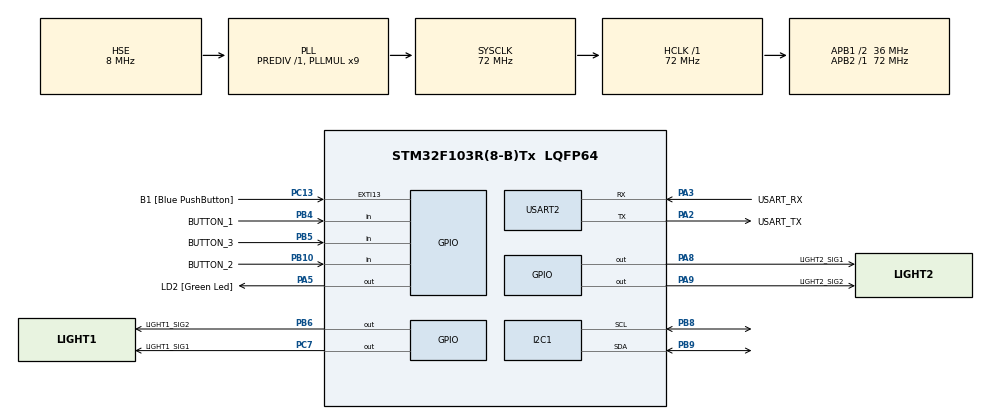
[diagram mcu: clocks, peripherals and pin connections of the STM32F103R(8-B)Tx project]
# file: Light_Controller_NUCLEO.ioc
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Mcu.Family=STM32F1
Mcu.Name=STM32F103R(8-B)Tx
Mcu.Package=LQFP64
NVIC.EXTI15_10_IRQn=true\:0\:0\:false\:false\:true\:true\:true\:true
NVIC.PriorityGroup=NVIC_PRIORITYGROUP_4
NVIC.TIM2_IRQn=true\:0\:0\:false\:false\:true\:true\:true\:true
NVIC.TIM3_IRQn=true\:0\:0\:false\:false\:true\:true\:true\:true
PA13.GPIO_Label=TMS
PA13.Mode=Serial_Wire
PA13.Signal=SYS_JTMS-SWDIO
PA14.GPIO_Label=TCK
PA14.Mode=Serial_Wire
PA14.Signal=SYS_JTCK-SWCLK
PA2.GPIO_Label=USART_TX
PA2.GPIO_Mode=GPIO_MODE_AF_PP
PA2.GPIO_PuPd=GPIO_NOPULL
PA2.GPIO_Speed=GPIO_SPEED_FREQ_LOW
PA2.Mode=Asynchronous
PA2.Signal=USART2_TX
PA3.GPIO_Label=USART_RX
PA3.GPIO_Mode=GPIO_MODE_AF_PP
PA3.GPIO_PuPd=GPIO_NOPULL
PA3.GPIO_Speed=GPIO_SPEED_FREQ_LOW
PA3.Mode=Asynchronous
PA3.Signal=USART2_RX
PA5.GPIO_Label=LD2 [Green Led]
PA5.GPIO_ModeDefaultOutputPP=GPIO_MODE_OUTPUT_PP
PA5.GPIO_PuPd=GPIO_NOPULL
PA5.GPIO_Speed=GPIO_SPEED_FREQ_LOW
PA5.Signal=GPIO_Output
PA8.GPIO_Label=LIGHT2_SIG1
PA8.Signal=GPIO_Output
PA9.GPIO_Label=LIGHT2_SIG2
PA9.Signal=GPIO_Output
PB10.GPIO_Label=BUTTON_2
PB10.Signal=GPIO_Input
PB3.GPIO_Label=SWO
PB3.Signal=SYS_JTDO-TRACESWO
PB4.GPIO_Label=BUTTON_1
PB4.Signal=GPIO_Input
PB5.GPIO_Label=BUTTON_3
PB5.Signal=GPIO_Input
PB6.GPIO_Label=LIGHT1_SIG2
PB6.Signal=GPIO_Output
PB8.Mode=I2C
PB8.Signal=I2C1_SCL
PB9.Mode=I2C
PB9.Signal=I2C1_SDA
PC13-TAMPER-RTC.GPIO_Label=B1 [Blue PushButton]
PC13-TAMPER-RTC.GPIO_PuPd=GPIO_NOPULL
PC13-TAMPER-RTC.Signal=GPXTI13
PC14-OSC32_IN.Mode=LSE-External-Oscillator
PC14-OSC32_IN.Signal=RCC_OSC32_IN
PC15-OSC32_OUT.Mode=LSE-External-Oscillator
PC15-OSC32_OUT.Signal=RCC_OSC32_OUT
PC7.GPIO_Label=LIGHT1_SIG1
PC7.Signal=GPIO_Output
PD0-OSC_IN.Mode=HSE-External-Oscillator
PD0-OSC_IN.Signal=RCC_OSC_IN
PD1-OSC_OUT.Mode=HSE-External-Oscillator
PD1-OSC_OUT.Signal=RCC_OSC_OUT
ProjectManager.HeapSize=0x200
ProjectManager.StackSize=0x400
ProjectManager.TargetToolchain=STM32CubeIDE
RCC.AHBFreq_Value=72000000
RCC.APB1CLKDivider=RCC_HCLK_DIV2
RCC.APB1Freq_Value=36000000
RCC.APB1TimFreq_Value=72000000
RCC.APB2Freq_Value=72000000
RCC.APB2TimFreq_Value=72000000
RCC.HCLKFreq_Value=72000000
RCC.PLLMUL=RCC_PLL_MUL9
RCC.PLLSourceVirtual=RCC_PLLSOURCE_HSE
RCC.RTCClockSelection=RCC_RTCCLKSOURCE_LSE
RCC.SYSCLKFreq_VALUE=72000000
RCC.SYSCLKSource=RCC_SYSCLKSOURCE_PLLCLK
RCC.USBFreq_Value=72000000
TIM2.Period=9
TIM2.Prescaler=7999
TIM3.Period=2
TIM3.Prescaler=23999
USART2.VirtualMode=VM_ASYNC
VP_TIM2_VS_ClockSourceINT.Mode=Internal
VP_TIM3_VS_ClockSourceINT.Mode=Internal
board=NUCLEO-F103RB

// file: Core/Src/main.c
/* USER CODE BEGIN Header */
/**
  ******************************************************************************
  * @file           : main.c
  * @brief          : Main program body
  ******************************************************************************
  * @attention
  *
  * Copyright (c) 2024 STMicroelectronics.
  * All rights reserved.
  *
  * This software is licensed under terms that can be found in the LICENSE file
  * in the root directory of this software component.
  * If no LICENSE file comes with this software, it is provided AS-IS.
  *
  ******************************************************************************
  */
/* USER CODE END Header */
#include "main.h"

/* USER CODE BEGIN Includes */
#include "stdio.h"
#include "Scheduler.h"
#include "Traffic_Light_FSM.h"
#include "I2C_LCD.h"
/* USER CODE END Includes */

I2C_HandleTypeDef hi2c1;

TIM_HandleTypeDef htim2;
TIM_HandleTypeDef htim3;

UART_HandleTypeDef huart2;

/* USER CODE BEGIN PV */
char light1Mode[] = "G:";
char light2Mode[] = "R:";

/* USER CODE END PV */

void SystemClock_Config(void);
static void MX_GPIO_Init(void);
static void MX_USART2_UART_Init(void);
static void MX_TIM2_Init(void);
static void MX_TIM3_Init(void);
static void MX_I2C1_Init(void);

/* USER CODE BEGIN 0 */

void printLightNotify () {
	int col = 1, row = 1;
	if (changeModeFlag) {
		char mode[] = "TIMER:";
		changeModeFlag = 0;
		clearLCD();
		switch (Mode) {
		case NORMAL:
			char text1[] = "Light 1";
			I2C_Send(&hi2c1, (0x27 << 1), 0x80 | ((row - 1)*64 + (col - 1)), 0);
			for (int i = 0; i < sizeof(text1)/sizeof(text1[0]) - 1; i++)
				I2C_Send(&hi2c1, (0x27 << 1), text1[i], RS);

			char text2[] = "Light 2";
			col = 10; row = 1;
			I2C_Send(&hi2c1, (0x27 << 1), 0x80 | ((row - 1)*64 + (col - 1)), 0);
			for (int i = 0; i < sizeof(text2)/sizeof(text2[0]) - 1; i++)
				I2C_Send(&hi2c1, (0x27 << 1), text2[i], RS);
			break;
		case RED:
			char textRED[] = "RED SETTING";
			I2C_Send(&hi2c1, (0x27 << 1), 0x80 | ((row - 1)*64 + (col - 1)), 0);
			for (int i = 0; i < sizeof(textRED)/sizeof(textRED[0]) - 1; i++)
				I2C_Send(&hi2c1, (0x27 << 1), textRED[i], RS);
			col = 1; row = 2;
			I2C_Send(&hi2c1, (0x27 << 1), 0x80 | ((row - 1)*64 + (col - 1)), 0);
			for (int i = 0; i < sizeof(mode)/sizeof(mode[0]) - 1; i++)
				I2C_Send(&hi2c1, (0x27 << 1), mode[i], RS);
			break;
		case AMBER:
			char textAMBER[] = "AMBER SETTING";
			I2C_Send(&hi2c1, (0x27 << 1), 0x80 | ((row - 1)*64 + (col - 1)), 0);
			for (int i = 0; i < sizeof(textAMBER)/sizeof(textAMBER[0]) - 1; i++)
				I2C_Send(&hi2c1, (0x27 << 1), textAMBER[i], RS);
			col = 1; row = 2;
			I2C_Send(&hi2c1, (0x27 << 1), 0x80 | ((row - 1)*64 + (col - 1)), 0);
			for (int i = 0; i < sizeof(mode)/sizeof(mode[0]) - 1; i++)
				I2C_Send(&hi2c1, (0x27 << 1), mode[i], RS);
			break;
		case GREEN:
			char textGREEN[] = "GREEN SETTING";
			I2C_Send(&hi2c1, (0x27 << 1), 0x80 | ((row - 1)*64 + (col - 1)), 0);
			for (int i = 0; i < sizeof(textGREEN)/sizeof(textGREEN[0]) - 1; i++)
				I2C_Send(&hi2c1, (0x27 << 1), textGREEN[i], RS);
			col = 1; row = 2;
			I2C_Send(&hi2c1, (0x27 << 1), 0x80 | ((row - 1)*64 + (col - 1)), 0);
			for (int i = 0; i < sizeof(mode)/sizeof(mode[0]) - 1; i++)
				I2C_Send(&hi2c1, (0x27 << 1), mode[i], RS);
			break;
		case SLOWDOWN:
			char textSLOWDOWN[] = "SLOWDOWN MODE";
			I2C_Send(&hi2c1, (0x27 << 1), 0x80 | ((row - 1)*64 + (col - 1)), 0);
			for (int i = 0; i < sizeof(textSLOWDOWN)/sizeof(textSLOWDOWN[0]) - 1; i++)
				I2C_Send(&hi2c1, (0x27 << 1), textSLOWDOWN[i], RS);
			break;
		case MANUAL:
			char textMANUAL[] = "MANUAL MODE";
			I2C_Send(&hi2c1, (0x27 << 1), 0x80 | ((row - 1)*64 + (col - 1)), 0);
			for (int i = 0; i < sizeof(textMANUAL)/sizeof(textMANUAL[0]) - 1; i++)
				I2C_Send(&hi2c1, (0x27 << 1), textMANUAL[i], RS);
			break;
		default:
			break;
		}
	}
}
void printLight1Mode () {
	if (Mode == NORMAL) {
		int col = 1, row = 2;
		I2C_Send(&hi2c1, (0x27 << 1), 0x80 | ((row - 1)*64 + (col - 1)), 0);
		for (int i = 0; i < sizeof(light1Mode)/sizeof(light1Mode[0]) - 1; i++)
			I2C_Send(&hi2c1, (0x27 << 1), light1Mode[i], RS);
	}
}
void printLight2Mode () {
	if (Mode == NORMAL) {
		int col = 10, row = 2;
		I2C_Send(&hi2c1, (0x27 << 1), 0x80 | ((row - 1)*64 + (col - 1)), 0);
		for (int i = 0; i < sizeof(light2Mode)/sizeof(light2Mode[0]) - 1; i++)
			I2C_Send(&hi2c1, (0x27 << 1), light2Mode[i], RS);
	}
}
void printLight1Timer () {
	uint8_t timer[] = "00";
	int col = 8, row = 2;
	switch (Mode){
	case NORMAL:
		if (lightController.isLight1){
			timer[0] = '0' + (second / 10);
			timer[1] = '0' + (second % 10);
		} else {
			timer[0] = '0' + (redLightTimer / 10);
			timer[1] = '0' + (redLightTimer % 10);
		}
		col = 4; row = 2;
		I2C_Send(&hi2c1, (0x27 << 1), 0x80 | ((row - 1)*64 + (col - 1)), 0);
		for (int i = 0; i < sizeof(timer)/sizeof(timer[0]) - 1; i++)
			I2C_Send(&hi2c1, (0x27 << 1), timer[i], RS);
		break;
	case RED:
		timer[0] = '0' + (settingBuffer[RED] / 10);
		timer[1] = '0' + (settingBuffer[RED] % 10);

		I2C_Send(&hi2c1, (0x27 << 1), 0x80 | ((row - 1)*64 + (col - 1)), 0);
		for (int i = 0; i < sizeof(timer)/sizeof(timer[0]) - 1; i++)
			I2C_Send(&hi2c1, (0x27 << 1), timer[i], RS);
		break;
	case AMBER:
		timer[0] = '0' + (settingBuffer[AMBER] / 10);
		timer[1] = '0' + (settingBuffer[AMBER] % 10);

		I2C_Send(&hi2c1, (0x27 << 1), 0x80 | ((row - 1)*64 + (col - 1)), 0);
		for (int i = 0; i < sizeof(timer)/sizeof(timer[0]) - 1; i++)
			I2C_Send(&hi2c1, (0x27 << 1), timer[i], RS);
		break;
	case GREEN:
		timer[0] = '0' + (settingBuffer[GREEN] / 10);
		timer[1] = '0' + (settingBuffer[GREEN] % 10);

		I2C_Send(&hi2c1, (0x27 << 1), 0x80 | ((row - 1)*64 + (col - 1)), 0);
		for (int i = 0; i < sizeof(timer)/sizeof(timer[0]) - 1; i++)
			I2C_Send(&hi2c1, (0x27 << 1), timer[i], RS);
		break;
	default:
		break;
	}
}
void printLight2Timer () {
	if (Mode == NORMAL) {
		uint8_t timer[] = "00";
		if (!lightController.isLight1){
			timer[0] = '0' + (second / 10);
			timer[1] = '0' + (second % 10);
		} else {
			timer[0] = '0' + (redLightTimer / 10);
			timer[1] = '0' + (redLightTimer % 10);
		}
		int col = 13, row = 2;
		I2C_Send(&hi2c1, (0x27 << 1), 0x80 | ((row - 1)*64 + (col - 1)), 0);
		for (int i = 0; i < sizeof(timer)/sizeof(timer[0]) - 1; i++)
			I2C_Send(&hi2c1, (0x27 << 1), timer[i], RS);
	}
}
void cursorOff() {
	setCursor(0);
}
void blinkingOff() {
	setBlinking(0);
}
void changeMode( ) {
	switch (lightController.isLight1) {
	case 1:
		if (lightController.currentState == Green)
			light1Mode[0] = 'G';
		else
			light1Mode[0] = 'A';
		light2Mode[0] = 'R';
		break;
	case 0:
		if (lightController.currentState == Green)
			light2Mode[0] = 'G';
		else
			light2Mode[0] = 'A';
		light1Mode[0] = 'R';
		break;
	default:
		break;
	}
}

/* USER CODE END 0 */

int main(void)
{

  /* MCU Configuration--------------------------------------------------------*/

  /* Reset of all peripherals, Initializes the Flash interface and the Systick. */
  HAL_Init();

  /* Configure the system clock */
  SystemClock_Config();

  /* Initialize all configured peripherals */
  MX_GPIO_Init();
  MX_USART2_UART_Init();
  MX_TIM2_Init();
  MX_TIM3_Init();
  MX_I2C1_Init();
  /* USER CODE BEGIN 2 */
  Traffic_Light_FSM_Init(BUTTON_1_GPIO_Port, BUTTON_1_Pin,
		  	  	  	  	 BUTTON_2_GPIO_Port, BUTTON_2_Pin,
						 BUTTON_3_GPIO_Port, BUTTON_3_Pin,
						 LIGHT1_SIG1_GPIO_Port, LIGHT1_SIG1_Pin,
						 LIGHT1_SIG2_GPIO_Port, LIGHT1_SIG2_Pin,
						 LIGHT2_SIG1_GPIO_Port, LIGHT2_SIG1_Pin,
						 LIGHT2_SIG2_GPIO_Port, LIGHT2_SIG2_Pin);
  HAL_TIM_Base_Start_IT(&htim3);
  LCD_Init(&hi2c1);
  SCH_Init();
  /* USER CODE END 2 */

  /* Infinite loop */
  /* USER CODE BEGIN WHILE */
  SCH_Add_Task(clearLCD, 0, 0);
  SCH_Add_Task(cursorOff, 3, 0);
  SCH_Add_Task(blinkingOff, 6, 0);

  SCH_Add_Task(printLightNotify, 0, 353);
//  SCH_Add_Task(printLight2, 0, 1000);
  SCH_Add_Task(printLight1Timer, 0, 243);
  SCH_Add_Task(printLight2Timer, 0, 333);
  SCH_Add_Task(printLight1Mode, 0, 300);
  SCH_Add_Task(printLight2Mode, 0, 400);

  SCH_Add_Task(changeMode, 0, 2*TIMER_CYCLE);

  SCH_Add_Task(Button_Read, 0, TIMER_CYCLE);
  SCH_Add_Task(Traffic_Light_FSM_Run, 0, TIMER_CYCLE);
  SCH_Add_Task(trafficLightFSM, 0, TIMER_CYCLE);
  while (1)
  {
	  SCH_Dispatcher();
    /* USER CODE END WHILE */

  }
}

void SystemClock_Config(void)
{
  RCC_OscInitTypeDef RCC_OscInitStruct = {0};
  RCC_ClkInitTypeDef RCC_ClkInitStruct = {0};

  /** Initializes the RCC Oscillators according to the specified parameters
  * in the RCC_OscInitTypeDef structure.
  */
  RCC_OscInitStruct.OscillatorType = RCC_OSCILLATORTYPE_HSE;
  RCC_OscInitStruct.HSEState = RCC_HSE_ON;
  RCC_OscInitStruct.HSEPredivValue = RCC_HSE_PREDIV_DIV1;
  RCC_OscInitStruct.HSIState = RCC_HSI_ON;
  RCC_OscInitStruct.PLL.PLLState = RCC_PLL_ON;
  RCC_OscInitStruct.PLL.PLLSource = RCC_PLLSOURCE_HSE;
  RCC_OscInitStruct.PLL.PLLMUL = RCC_PLL_MUL9;
  if (HAL_RCC_OscConfig(&RCC_OscInitStruct) != HAL_OK)
  {
    Error_Handler();
  }

  /** Initializes the CPU, AHB and APB buses clocks
  */
  RCC_ClkInitStruct.ClockType = RCC_CLOCKTYPE_HCLK|RCC_CLOCKTYPE_SYSCLK
                              |RCC_CLOCKTYPE_PCLK1|RCC_CLOCKTYPE_PCLK2;
  RCC_ClkInitStruct.SYSCLKSource = RCC_SYSCLKSOURCE_PLLCLK;
  RCC_ClkInitStruct.AHBCLKDivider = RCC_SYSCLK_DIV1;
  RCC_ClkInitStruct.APB1CLKDivider = RCC_HCLK_DIV2;
  RCC_ClkInitStruct.APB2CLKDivider = RCC_HCLK_DIV1;

  if (HAL_RCC_ClockConfig(&RCC_ClkInitStruct, FLASH_LATENCY_2) != HAL_OK)
  {
    Error_Handler();
  }
}

static void MX_I2C1_Init(void)
{

  hi2c1.Instance = I2C1;
  hi2c1.Init.ClockSpeed = 100000;
  hi2c1.Init.DutyCycle = I2C_DUTYCYCLE_2;
  hi2c1.Init.OwnAddress1 = 0;
  hi2c1.Init.AddressingMode = I2C_ADDRESSINGMODE_7BIT;
  hi2c1.Init.DualAddressMode = I2C_DUALADDRESS_DISABLE;
  hi2c1.Init.OwnAddress2 = 0;
  hi2c1.Init.GeneralCallMode = I2C_GENERALCALL_DISABLE;
  hi2c1.Init.NoStretchMode = I2C_NOSTRETCH_DISABLE;
  if (HAL_I2C_Init(&hi2c1) != HAL_OK)
  {
    Error_Handler();
  }

}

static void MX_TIM2_Init(void)
{

  TIM_ClockConfigTypeDef sClockSourceConfig = {0};
  TIM_MasterConfigTypeDef sMasterConfig = {0};

  htim2.Instance = TIM2;
  htim2.Init.Prescaler = 7999;
  htim2.Init.CounterMode = TIM_COUNTERMODE_UP;
  htim2.Init.Period = 9;
  htim2.Init.ClockDivision = TIM_CLOCKDIVISION_DIV1;
  htim2.Init.AutoReloadPreload = TIM_AUTORELOAD_PRELOAD_DISABLE;
  if (HAL_TIM_Base_Init(&htim2) != HAL_OK)
  {
    Error_Handler();
  }
  sClockSourceConfig.ClockSource = TIM_CLOCKSOURCE_INTERNAL;
  if (HAL_TIM_ConfigClockSource(&htim2, &sClockSourceConfig) != HAL_OK)
  {
    Error_Handler();
  }
  sMasterConfig.MasterOutputTrigger = TIM_TRGO_RESET;
  sMasterConfig.MasterSlaveMode = TIM_MASTERSLAVEMODE_DISABLE;
  if (HAL_TIMEx_MasterConfigSynchronization(&htim2, &sMasterConfig) != HAL_OK)
  {
    Error_Handler();
  }

}

static void MX_TIM3_Init(void)
{

  TIM_ClockConfigTypeDef sClockSourceConfig = {0};
  TIM_MasterConfigTypeDef sMasterConfig = {0};

  htim3.Instance = TIM3;
  htim3.Init.Prescaler = 23999;
  htim3.Init.CounterMode = TIM_COUNTERMODE_UP;
  htim3.Init.Period = 2;
  htim3.Init.ClockDivision = TIM_CLOCKDIVISION_DIV1;
  htim3.Init.AutoReloadPreload = TIM_AUTORELOAD_PRELOAD_DISABLE;
  if (HAL_TIM_Base_Init(&htim3) != HAL_OK)
  {
    Error_Handler();
  }
  sClockSourceConfig.ClockSource = TIM_CLOCKSOURCE_INTERNAL;
  if (HAL_TIM_ConfigClockSource(&htim3, &sClockSourceConfig) != HAL_OK)
  {
    Error_Handler();
  }
  sMasterConfig.MasterOutputTrigger = TIM_TRGO_RESET;
  sMasterConfig.MasterSlaveMode = TIM_MASTERSLAVEMODE_DISABLE;
  if (HAL_TIMEx_MasterConfigSynchronization(&htim3, &sMasterConfig) != HAL_OK)
  {
    Error_Handler();
  }

}

static void MX_USART2_UART_Init(void)
{

  huart2.Instance = USART2;
  huart2.Init.BaudRate = 115200;
  huart2.Init.WordLength = UART_WORDLENGTH_8B;
  huart2.Init.StopBits = UART_STOPBITS_1;
  huart2.Init.Parity = UART_PARITY_NONE;
  huart2.Init.Mode = UART_MODE_TX_RX;
  huart2.Init.HwFlowCtl = UART_HWCONTROL_NONE;
  huart2.Init.OverSampling = UART_OVERSAMPLING_16;
  if (HAL_UART_Init(&huart2) != HAL_OK)
  {
    Error_Handler();
  }

}

static void MX_GPIO_Init(void)
{
  GPIO_InitTypeDef GPIO_InitStruct = {0};

  /* GPIO Ports Clock Enable */
  __HAL_RCC_GPIOC_CLK_ENABLE();
  __HAL_RCC_GPIOD_CLK_ENABLE();
  __HAL_RCC_GPIOA_CLK_ENABLE();
  __HAL_RCC_GPIOB_CLK_ENABLE();

  /*Configure GPIO pin Output Level */
  HAL_GPIO_WritePin(GPIOA, LD2_Pin|LIGHT2_SIG1_Pin|LIGHT2_SIG2_Pin, GPIO_PIN_RESET);

  /*Configure GPIO pin Output Level */
  HAL_GPIO_WritePin(LIGHT1_SIG1_GPIO_Port, LIGHT1_SIG1_Pin, GPIO_PIN_RESET);

  /*Configure GPIO pin Output Level */
  HAL_GPIO_WritePin(LIGHT1_SIG2_GPIO_Port, LIGHT1_SIG2_Pin, GPIO_PIN_RESET);

  /*Configure GPIO pin : B1_Pin */
  GPIO_InitStruct.Pin = B1_Pin;
  GPIO_InitStruct.Mode = GPIO_MODE_IT_RISING;
  GPIO_InitStruct.Pull = GPIO_NOPULL;
  HAL_GPIO_Init(B1_GPIO_Port, &GPIO_InitStruct);

  /*Configure GPIO pins : LD2_Pin LIGHT2_SIG1_Pin LIGHT2_SIG2_Pin */
  GPIO_InitStruct.Pin = LD2_Pin|LIGHT2_SIG1_Pin|LIGHT2_SIG2_Pin;
  GPIO_InitStruct.Mode = GPIO_MODE_OUTPUT_PP;
  GPIO_InitStruct.Pull = GPIO_NOPULL;
  GPIO_InitStruct.Speed = GPIO_SPEED_FREQ_LOW;
  HAL_GPIO_Init(GPIOA, &GPIO_InitStruct);

  /*Configure GPIO pins : BUTTON_2_Pin BUTTON_1_Pin BUTTON_3_Pin */
  GPIO_InitStruct.Pin = BUTTON_2_Pin|BUTTON_1_Pin|BUTTON_3_Pin;
  GPIO_InitStruct.Mode = GPIO_MODE_INPUT;
  GPIO_InitStruct.Pull = GPIO_NOPULL;
  HAL_GPIO_Init(GPIOB, &GPIO_InitStruct);

  /*Configure GPIO pin : LIGHT1_SIG1_Pin */
  GPIO_InitStruct.Pin = LIGHT1_SIG1_Pin;
  GPIO_InitStruct.Mode = GPIO_MODE_OUTPUT_PP;
  GPIO_InitStruct.Pull = GPIO_NOPULL;
  GPIO_InitStruct.Speed = GPIO_SPEED_FREQ_LOW;
  HAL_GPIO_Init(LIGHT1_SIG1_GPIO_Port, &GPIO_InitStruct);

  /*Configure GPIO pin : LIGHT1_SIG2_Pin */
  GPIO_InitStruct.Pin = LIGHT1_SIG2_Pin;
  GPIO_InitStruct.Mode = GPIO_MODE_OUTPUT_PP;
  GPIO_InitStruct.Pull = GPIO_NOPULL;
  GPIO_InitStruct.Speed = GPIO_SPEED_FREQ_LOW;
  HAL_GPIO_Init(LIGHT1_SIG2_GPIO_Port, &GPIO_InitStruct);

  /* EXTI interrupt init*/
  HAL_NVIC_SetPriority(EXTI15_10_IRQn, 0, 0);
  HAL_NVIC_EnableIRQ(EXTI15_10_IRQn);

}

void Error_Handler(void)
{
  __disable_irq();
  while (1)
  {
  }
}
